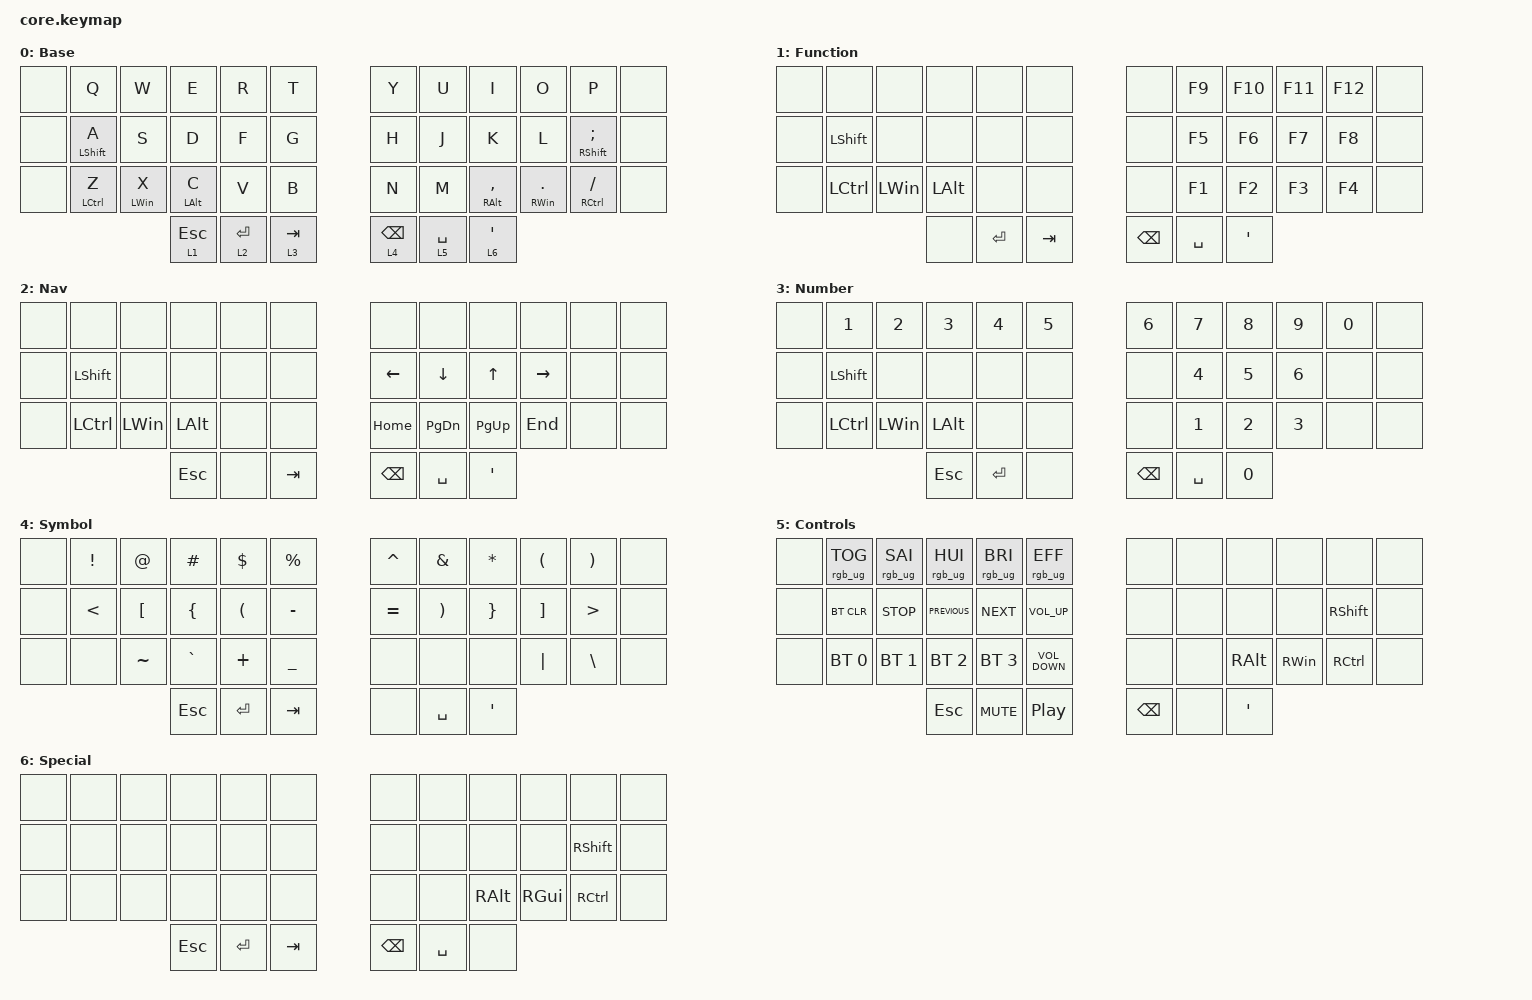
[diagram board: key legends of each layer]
#include <behaviors.dtsi>
#include <dt-bindings/zmk/keys.h>
#include <dt-bindings/zmk/rgb.h>
#include <dt-bindings/zmk/bt.h>

/ {
    keymap {
        compatible = "zmk,keymap";

        Base {
            display-name = "Base";
            bindings = <
&none  &kp Q               &kp W           &kp E           &kp R        &kp T      &kp Y            &kp U        &kp I                &kp O                 &kp P                      &none
&none  &mt LEFT_SHIFT A    &kp S           &kp D           &kp F        &kp G      &kp H            &kp J        &kp K                &kp L                 &mt RIGHT_SHIFT SEMICOLON  &none
&none  &mt LEFT_CONTROL Z  &mt LEFT_WIN X  &mt LEFT_ALT C  &kp V        &kp B      &kp N            &kp M        &mt RIGHT_ALT COMMA  &mt RIGHT_WIN PERIOD  &mt RIGHT_CONTROL SLASH    &none
                                           &lt 1 ESCAPE    &lt 2 ENTER  &lt 3 TAB  &lt 4 BACKSPACE  &lt 5 SPACE  &lt 6 SINGLE_QUOTE
            >;
        };

        Function {
            display-name = "Function";
            bindings = <
&none  &none             &none         &none         &none      &none    &none          &kp F9     &kp F10           &kp F11  &kp F12  &none
&none  &kp LEFT_SHIFT    &none         &none         &none      &none    &none          &kp F5     &kp F6            &kp F7   &kp F8   &none
&none  &kp LEFT_CONTROL  &kp LEFT_WIN  &kp LEFT_ALT  &none      &none    &none          &kp F1     &kp F2            &kp F3   &kp F4   &none
                                       &none         &kp ENTER  &kp TAB  &kp BACKSPACE  &kp SPACE  &kp SINGLE_QUOTE
            >;
        };

        Nav {
            display-name = "Nav";
            bindings = <
&none  &none             &none         &none         &none  &none    &none          &none          &none             &none      &none  &none
&none  &kp LEFT_SHIFT    &none         &none         &none  &none    &kp LEFT       &kp DOWN       &kp UP            &kp RIGHT  &none  &none
&none  &kp LEFT_CONTROL  &kp LEFT_WIN  &kp LEFT_ALT  &none  &none    &kp HOME       &kp PAGE_DOWN  &kp PAGE_UP       &kp END    &none  &none
                                       &kp ESCAPE    &none  &kp TAB  &kp BACKSPACE  &kp SPACE      &kp SINGLE_QUOTE
            >;
        };

        Number {
            display-name = "Number";
            bindings = <
&none  &kp N1            &kp N2        &kp N3        &kp N4     &kp N5  &kp N6         &kp N7     &kp N8  &kp N9  &kp N0  &none
&none  &kp LEFT_SHIFT    &none         &none         &none      &none   &none          &kp N4     &kp N5  &kp N6  &none   &none
&none  &kp LEFT_CONTROL  &kp LEFT_WIN  &kp LEFT_ALT  &none      &none   &none          &kp N1     &kp N2  &kp N3  &none   &none
                                       &kp ESCAPE    &kp ENTER  &none   &kp BACKSPACE  &kp SPACE  &kp N0
            >;
        };

        Symbol {
            display-name = "Symbol";
            bindings = <
&none  &kp EXCL       &kp AT            &kp HASH        &kp DLLR              &kp PRCNT         &kp CARET  &kp AMPS               &kp STAR          &kp LPAR           &kp RPAR          &none
&none  &kp LESS_THAN  &kp LEFT_BRACKET  &kp LEFT_BRACE  &kp LEFT_PARENTHESIS  &kp MINUS         &kp EQUAL  &kp RIGHT_PARENTHESIS  &kp RIGHT_BRACE   &kp RIGHT_BRACKET  &kp GREATER_THAN  &none
&none  &none          &kp TILDE         &kp GRAVE       &kp PLUS              &kp UNDERSCORE    &none      &none                  &none             &kp PIPE           &kp BACKSLASH     &none
                                        &kp ESCAPE      &kp ENTER             &kp TAB           &none      &kp SPACE              &kp SINGLE_QUOTE
            >;
        };

        Controls {
            display-name = "Controls";
            bindings = <
&none  &rgb_ug RGB_TOG  &rgb_ug RGB_SAI  &rgb_ug RGB_HUI  &rgb_ug RGB_BRI  &rgb_ug RGB_EFF      &none          &none  &none             &none          &none              &none
&none  &bt BT_CLR       &kp C_STOP       &kp C_PREVIOUS   &kp C_NEXT       &kp C_VOLUME_UP      &none          &none  &none             &none          &kp RIGHT_SHIFT    &none
&none  &bt BT_SEL 0     &bt BT_SEL 1     &bt BT_SEL 2     &bt BT_SEL 3     &kp C_VOLUME_DOWN    &none          &none  &kp RIGHT_ALT     &kp RIGHT_WIN  &kp RIGHT_CONTROL  &none
                                         &kp ESCAPE       &kp C_MUTE       &kp C_PLAY_PAUSE     &kp BACKSPACE  &none  &kp SINGLE_QUOTE
            >;
        };

        Special {
            display-name = "Special";
            bindings = <
&none  &none  &none  &none       &none      &none    &none          &none      &none          &none          &none              &none
&none  &none  &none  &none       &none      &none    &none          &none      &none          &none          &kp RIGHT_SHIFT    &none
&none  &none  &none  &none       &none      &none    &none          &none      &kp RIGHT_ALT  &kp RIGHT_GUI  &kp RIGHT_CONTROL  &none
                     &kp ESCAPE  &kp ENTER  &kp TAB  &kp BACKSPACE  &kp SPACE  &none
            >;
        };
    };
};

